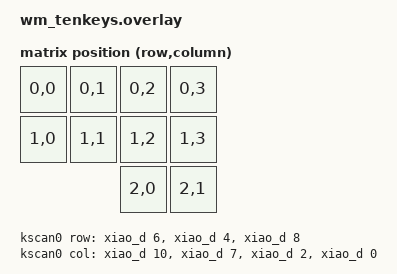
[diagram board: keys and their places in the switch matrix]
#include <dt-bindings/zmk/matrix_transform.h>

/ {
	chosen {
		zmk,kscan = &kscan0;
		zmk,matrix_transform = &default_transform;
	};

	default_transform: keymap_transform_0 {
		compatible = "zmk,matrix-transform";
		columns = <4>;
		rows = <3>;
// | SW1  | SW2  | SW3  | SW4
// | SW5  | SW6  | SW7  | SW8
//               | SW9  | SW10
		map = <
      RC(0,0) RC(0,1) RC(0,2) RC(0,3)
      RC(1,0) RC(1,1) RC(1,2) RC(1,3)
                      RC(2,0) RC(2,1)
		>;
	};

	kscan0: kscan {
		compatible = "zmk,kscan-gpio-matrix";
		label = "KSCAN";
		diode-direction = "col2row";
		row-gpios
			= <&xiao_d 6 (GPIO_ACTIVE_HIGH | GPIO_PULL_DOWN)>     //Row0
			, <&xiao_d 4 (GPIO_ACTIVE_HIGH | GPIO_PULL_DOWN)>     //Row1
			, <&xiao_d 8 (GPIO_ACTIVE_HIGH | GPIO_PULL_DOWN)>    //Row2
			;
		
		col-gpios
			= <&xiao_d 10 GPIO_ACTIVE_HIGH>   //Col0
			, <&xiao_d 7 GPIO_ACTIVE_HIGH>   //Col1
			, <&xiao_d 2 GPIO_ACTIVE_HIGH>   //Col2
			, <&xiao_d 0 GPIO_ACTIVE_HIGH>   //Col3
		;
	};
};
